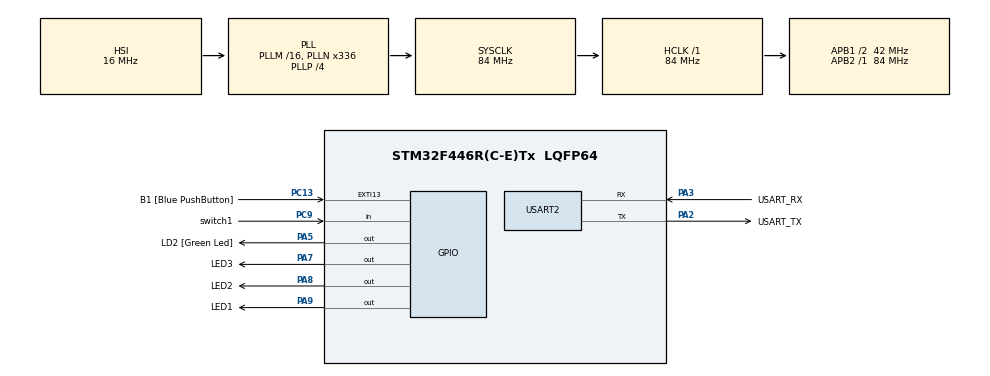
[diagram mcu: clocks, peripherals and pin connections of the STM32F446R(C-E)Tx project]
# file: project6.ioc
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Mcu.Family=STM32F4
Mcu.Name=STM32F446R(C-E)Tx
Mcu.Package=LQFP64
NVIC.PriorityGroup=NVIC_PRIORITYGROUP_0
PA13.GPIO_Label=TMS
PA13.Mode=Serial_Wire
PA13.Signal=SYS_JTMS-SWDIO
PA14.GPIO_Label=TCK
PA14.Mode=Serial_Wire
PA14.Signal=SYS_JTCK-SWCLK
PA2.GPIO_Label=USART_TX
PA2.Mode=Asynchronous
PA2.Signal=USART2_TX
PA3.GPIO_Label=USART_RX
PA3.Mode=Asynchronous
PA3.Signal=USART2_RX
PA5.GPIO_Label=LD2 [Green Led]
PA5.Signal=GPIO_Output
PA7.GPIO_Label=LED3
PA7.Signal=GPIO_Output
PA8.GPIO_Label=LED2
PA8.Signal=GPIO_Output
PA9.GPIO_Label=LED1
PA9.Signal=GPIO_Output
PB3.GPIO_Label=SWO
PB3.Signal=SYS_JTDO-SWO
PC13.GPIO_Label=B1 [Blue PushButton]
PC13.GPIO_ModeDefaultEXTI=GPIO_MODE_IT_FALLING
PC13.Signal=GPXTI13
PC14-OSC32_IN.Mode=LSE-External-Oscillator
PC14-OSC32_IN.Signal=RCC_OSC32_IN
PC15-OSC32_OUT.Mode=LSE-External-Oscillator
PC15-OSC32_OUT.Signal=RCC_OSC32_OUT
PC9.GPIO_Label=switch1
PC9.GPIO_PuPd=GPIO_PULLUP
PC9.Signal=GPIO_Input
PH0-OSC_IN.Mode=HSE-External-Oscillator
PH0-OSC_IN.Signal=RCC_OSC_IN
PH1-OSC_OUT.Mode=HSE-External-Oscillator
PH1-OSC_OUT.Signal=RCC_OSC_OUT
ProjectManager.HeapSize=0x200
ProjectManager.StackSize=0x400
ProjectManager.TargetToolchain=STM32CubeIDE
RCC.48MHZClocksFreq_Value=84000000
RCC.AHBFreq_Value=84000000
RCC.APB1CLKDivider=RCC_HCLK_DIV2
RCC.APB1Freq_Value=42000000
RCC.APB1TimFreq_Value=84000000
RCC.APB2Freq_Value=84000000
RCC.APB2TimFreq_Value=84000000
RCC.CortexFreq_Value=84000000
RCC.FLatency-AdvancedSettings=FLASH_LATENCY_2
RCC.HCLKFreq_Value=84000000
RCC.HSE_VALUE=8000000
RCC.HSI_VALUE=16000000
RCC.PLLN=336
RCC.PLLP=RCC_PLLP_DIV4
RCC.SYSCLKFreq_VALUE=84000000
RCC.SYSCLKSource=RCC_SYSCLKSOURCE_PLLCLK
RCC.USBFreq_Value=168000000
RCC.VCOOutputFreq_Value=336000000
USART2.VirtualMode=VM_ASYNC
board=NUCLEO-F446RE

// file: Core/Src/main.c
/* USER CODE BEGIN Header */
/**
  ******************************************************************************
  * @file           : main.c
  * @brief          : Main program body
  ******************************************************************************
  * @attention
  *
  * Copyright (c) 2024 STMicroelectronics.
  * All rights reserved.
  *
  * This software is licensed under terms that can be found in the LICENSE file
  * in the root directory of this software component.
  * If no LICENSE file comes with this software, it is provided AS-IS.
  *
  ******************************************************************************
  */
/* USER CODE END Header */
#include "main.h"

UART_HandleTypeDef huart2;

void SystemClock_Config(void);
static void MX_GPIO_Init(void);
static void MX_USART2_UART_Init(void);

int main(void)
{

  /* MCU Configuration--------------------------------------------------------*/

  /* Reset of all peripherals, Initializes the Flash interface and the Systick. */
  HAL_Init();

  /* Configure the system clock */
  SystemClock_Config();

  /* Initialize all configured peripherals */
  MX_GPIO_Init();
  MX_USART2_UART_Init();

  /* Infinite loop */
  /* USER CODE BEGIN WHILE */
  uint8_t switchPressCount = 0;
  while (1)
  {
	  if (HAL_GPIO_ReadPin(GPIOC, switch1_Pin) == GPIO_PIN_RESET) // Assuming active-low switch
	      {
	        // Increment the switch press count
	        switchPressCount++;

	        // Turn on the corresponding LED based on the switch press count
	        if (switchPressCount == 1)
	        {
	          HAL_GPIO_WritePin(GPIOA, LED1_Pin, GPIO_PIN_SET);
	        }
	        else if (switchPressCount == 2)
	        {
	          HAL_GPIO_WritePin(GPIOA, LED2_Pin, GPIO_PIN_SET);
	        }
	        else if (switchPressCount == 3)
	        {
	          HAL_GPIO_WritePin(GPIOA, LED3_Pin, GPIO_PIN_SET);
	        }

	        // Wait until the button is released
	        while (HAL_GPIO_ReadPin(GPIOC, switch1_Pin) == GPIO_PIN_RESET);

	        // Turn off all LEDs after releasing the switch
	        HAL_GPIO_WritePin(GPIOA, LED1_Pin, GPIO_PIN_RESET);
	        HAL_GPIO_WritePin(GPIOA, LED2_Pin, GPIO_PIN_RESET);
	        HAL_GPIO_WritePin(GPIOA, LED3_Pin, GPIO_PIN_RESET);

	        // Reset the switch press count after the third press
	        if (switchPressCount == 3)
	        {
	          switchPressCount = 0;
	        }

	        HAL_Delay(100);
	      }
    /* USER CODE END WHILE */

  }
}

void SystemClock_Config(void)
{
  RCC_OscInitTypeDef RCC_OscInitStruct = {0};
  RCC_ClkInitTypeDef RCC_ClkInitStruct = {0};

  /** Configure the main internal regulator output voltage
  */
  __HAL_RCC_PWR_CLK_ENABLE();
  __HAL_PWR_VOLTAGESCALING_CONFIG(PWR_REGULATOR_VOLTAGE_SCALE3);

  /** Initializes the RCC Oscillators according to the specified parameters
  * in the RCC_OscInitTypeDef structure.
  */
  RCC_OscInitStruct.OscillatorType = RCC_OSCILLATORTYPE_HSI;
  RCC_OscInitStruct.HSIState = RCC_HSI_ON;
  RCC_OscInitStruct.HSICalibrationValue = RCC_HSICALIBRATION_DEFAULT;
  RCC_OscInitStruct.PLL.PLLState = RCC_PLL_ON;
  RCC_OscInitStruct.PLL.PLLSource = RCC_PLLSOURCE_HSI;
  RCC_OscInitStruct.PLL.PLLM = 16;
  RCC_OscInitStruct.PLL.PLLN = 336;
  RCC_OscInitStruct.PLL.PLLP = RCC_PLLP_DIV4;
  RCC_OscInitStruct.PLL.PLLQ = 2;
  RCC_OscInitStruct.PLL.PLLR = 2;
  if (HAL_RCC_OscConfig(&RCC_OscInitStruct) != HAL_OK)
  {
    Error_Handler();
  }

  /** Initializes the CPU, AHB and APB buses clocks
  */
  RCC_ClkInitStruct.ClockType = RCC_CLOCKTYPE_HCLK|RCC_CLOCKTYPE_SYSCLK
                              |RCC_CLOCKTYPE_PCLK1|RCC_CLOCKTYPE_PCLK2;
  RCC_ClkInitStruct.SYSCLKSource = RCC_SYSCLKSOURCE_PLLCLK;
  RCC_ClkInitStruct.AHBCLKDivider = RCC_SYSCLK_DIV1;
  RCC_ClkInitStruct.APB1CLKDivider = RCC_HCLK_DIV2;
  RCC_ClkInitStruct.APB2CLKDivider = RCC_HCLK_DIV1;

  if (HAL_RCC_ClockConfig(&RCC_ClkInitStruct, FLASH_LATENCY_2) != HAL_OK)
  {
    Error_Handler();
  }
}

static void MX_USART2_UART_Init(void)
{

  huart2.Instance = USART2;
  huart2.Init.BaudRate = 115200;
  huart2.Init.WordLength = UART_WORDLENGTH_8B;
  huart2.Init.StopBits = UART_STOPBITS_1;
  huart2.Init.Parity = UART_PARITY_NONE;
  huart2.Init.Mode = UART_MODE_TX_RX;
  huart2.Init.HwFlowCtl = UART_HWCONTROL_NONE;
  huart2.Init.OverSampling = UART_OVERSAMPLING_16;
  if (HAL_UART_Init(&huart2) != HAL_OK)
  {
    Error_Handler();
  }

}

static void MX_GPIO_Init(void)
{
  GPIO_InitTypeDef GPIO_InitStruct = {0};

  /* GPIO Ports Clock Enable */
  __HAL_RCC_GPIOC_CLK_ENABLE();
  __HAL_RCC_GPIOH_CLK_ENABLE();
  __HAL_RCC_GPIOA_CLK_ENABLE();
  __HAL_RCC_GPIOB_CLK_ENABLE();

  /*Configure GPIO pin Output Level */
  HAL_GPIO_WritePin(GPIOA, LD2_Pin|LED3_Pin|LED2_Pin|LED1_Pin, GPIO_PIN_RESET);

  /*Configure GPIO pin : B1_Pin */
  GPIO_InitStruct.Pin = B1_Pin;
  GPIO_InitStruct.Mode = GPIO_MODE_IT_FALLING;
  GPIO_InitStruct.Pull = GPIO_NOPULL;
  HAL_GPIO_Init(B1_GPIO_Port, &GPIO_InitStruct);

  /*Configure GPIO pins : LD2_Pin LED3_Pin LED2_Pin LED1_Pin */
  GPIO_InitStruct.Pin = LD2_Pin|LED3_Pin|LED2_Pin|LED1_Pin;
  GPIO_InitStruct.Mode = GPIO_MODE_OUTPUT_PP;
  GPIO_InitStruct.Pull = GPIO_NOPULL;
  GPIO_InitStruct.Speed = GPIO_SPEED_FREQ_LOW;
  HAL_GPIO_Init(GPIOA, &GPIO_InitStruct);

  /*Configure GPIO pin : switch1_Pin */
  GPIO_InitStruct.Pin = switch1_Pin;
  GPIO_InitStruct.Mode = GPIO_MODE_INPUT;
  GPIO_InitStruct.Pull = GPIO_PULLUP;
  HAL_GPIO_Init(switch1_GPIO_Port, &GPIO_InitStruct);

}

void Error_Handler(void)
{
  __disable_irq();
  while (1)
  {
  }
}
